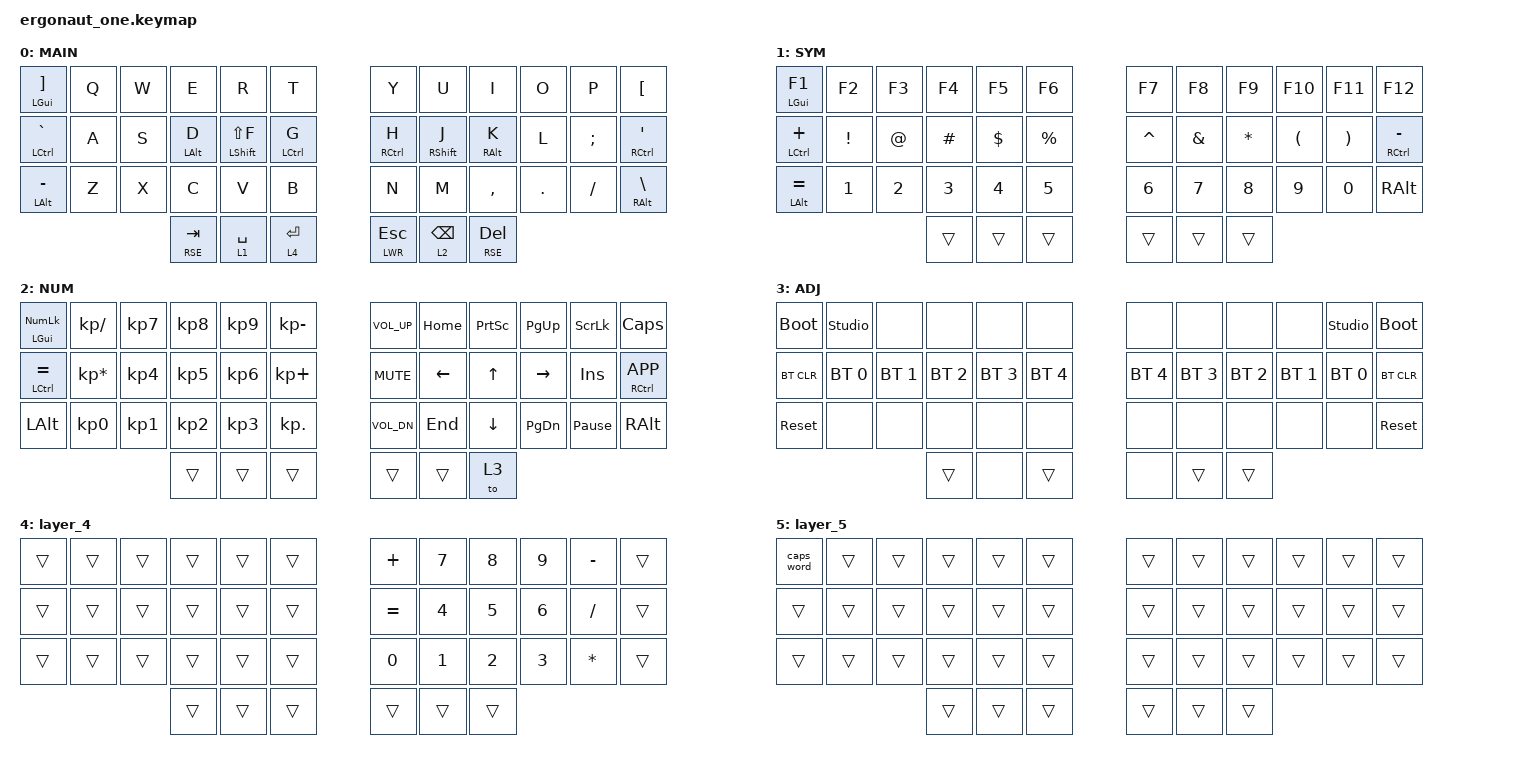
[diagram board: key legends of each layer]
#include <behaviors.dtsi>
#include <dt-bindings/zmk/bt.h>
#include <dt-bindings/zmk/keys.h>

#define DEF 0
#define LWR 1
#define RSE 2
#define ADJ 3

&lt { quick-tap-ms = <200>; };

&mt { quick-tap-ms = <200>; };

/ {
    conditional_layers {
        compatible = "zmk,conditional-layers";

        tri-layer {
            if-layers = <LWR RSE>;
            then-layer = <ADJ>;
        };
    };

    combos {
        compatible = "zmk,combos";

        ctrl+chift {
            bindings = <&langv>;
            key-positions = <4 5>;
        };

        lp {
            bindings = <&langv>;
            key-positions = <20 21>;
        };
    };

    macros {
        langv: langv {
            compatible = "zmk,behavior-macro";
            #binding-cells = <0>;
            bindings = <&kp LEFT_ALT &kp LEFT_SHIFT>;
            label = "LANGV";
        };
    };

    keymap {
        compatible = "zmk,keymap";

        default_layer {
            display-name = "MAIN";
            bindings = <
&mt LGUI RBKT    &kp Q  &kp W  &kp E           &kp R                 &kp T        &kp Y        &kp U              &kp I            &kp O    &kp P     &kp LBKT
&mt LCTRL GRAVE  &kp A  &kp S  &mt LEFT_ALT D  &mt LEFT_SHIFT LS(F)  &mt LCTRL G  &mt RCTRL H  &mt RIGHT_SHIFT J  &mt RIGHT_ALT K  &kp L    &kp SEMI  &mt RCTRL SQT
&mt LALT MINUS   &kp Z  &kp X  &kp C           &kp V                 &kp B        &kp N        &kp M              &kp COMMA        &kp DOT  &kp FSLH  &mt RALT BSLH
                               &lt RSE TAB     &lt 1 SPACE           &lt 4 RET    &lt LWR ESC  &lt 2 BSPC         &lt RSE DEL
            >;
        };

        lower_layer {
            display-name = "SYM";
            bindings = <
&mt LGUI F1     &kp F2    &kp F3  &kp F4    &kp F5    &kp F6     &kp F7     &kp F8    &kp F9    &kp F10   &kp F11   &kp F12
&mt LCTRL PLUS  &kp EXCL  &kp AT  &kp HASH  &kp DLLR  &kp PRCNT  &kp CARET  &kp AMPS  &kp STAR  &kp LPAR  &kp RPAR  &mt RCTRL MINUS
&mt LALT EQUAL  &kp N1    &kp N2  &kp N3    &kp N4    &kp N5     &kp N6     &kp N7    &kp N8    &kp N9    &kp N0    &kp RALT
                                  &trans    &trans    &trans     &trans     &trans    &trans
            >;
        };

        raise_layer {
            display-name = "NUM";
            bindings = <
&mt LGUI KP_NUM  &kp KP_SLASH     &kp KP_N7  &kp KP_N8  &kp KP_N9  &kp KP_MINUS  &kp C_VOL_UP  &kp HOME  &kp PSCRN  &kp PG_UP  &kp SLCK         &kp CLCK
&mt LCTRL EQUAL  &kp KP_MULTIPLY  &kp KP_N4  &kp KP_N5  &kp KP_N6  &kp KP_PLUS   &kp C_MUTE    &kp LEFT  &kp UP     &kp RIGHT  &kp INS          &mt RCTRL K_APP
&kp LALT         &kp KP_N0        &kp KP_N1  &kp KP_N2  &kp KP_N3  &kp KP_DOT    &kp C_VOL_DN  &kp END   &kp DOWN   &kp PG_DN  &kp PAUSE_BREAK  &kp RALT
                                             &trans     &trans     &trans        &trans        &trans    &to 3
            >;
        };

        adjust_layer {
            display-name = "ADJ";
            bindings = <
&bootloader  &studio_unlock  &none         &none         &none         &none         &none         &none         &none         &none         &studio_unlock  &bootloader
&bt BT_CLR   &bt BT_SEL 0    &bt BT_SEL 1  &bt BT_SEL 2  &bt BT_SEL 3  &bt BT_SEL 4  &bt BT_SEL 4  &bt BT_SEL 3  &bt BT_SEL 2  &bt BT_SEL 1  &bt BT_SEL 0    &bt BT_CLR
&sys_reset   &none           &none         &none         &none         &none         &none         &none         &none         &none         &none           &sys_reset
                                           &trans        &none         &trans        &none         &trans        &trans
            >;
        };

        layer_4 {
            bindings = <
&trans  &trans  &trans  &trans  &trans  &trans  &kp PLUS   &kp N7        &kp N8        &kp N9        &kp MINUS     &trans
&trans  &trans  &trans  &trans  &trans  &trans  &kp EQUAL  &kp NUMBER_4  &kp N5        &kp NUMBER_6  &kp SLASH     &trans
&trans  &trans  &trans  &trans  &trans  &trans  &kp N0     &kp NUMBER_1  &kp NUMBER_2  &kp NUMBER_3  &kp ASTERISK  &trans
                        &trans  &trans  &trans  &trans     &trans        &trans
            >;
        };

        layer_5 {
            bindings = <
&caps_word  &trans  &trans  &trans  &trans  &trans  &trans  &trans  &trans  &trans  &trans  &trans
&trans      &trans  &trans  &trans  &trans  &trans  &trans  &trans  &trans  &trans  &trans  &trans
&trans      &trans  &trans  &trans  &trans  &trans  &trans  &trans  &trans  &trans  &trans  &trans
                            &trans  &trans  &trans  &trans  &trans  &trans
            >;
        };
    };
};
